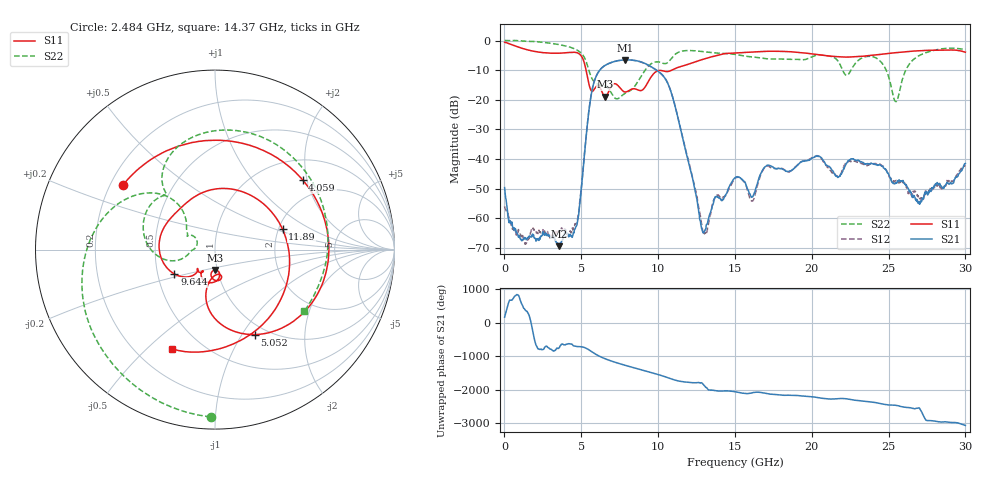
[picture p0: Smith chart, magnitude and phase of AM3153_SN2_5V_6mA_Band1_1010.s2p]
!Agilent Technologies,E8364B,MY43040894,A.07.50.67
!Agilent E8364B: A.07.50.67
!Date: Tuesday, May 12, 2020 09:45:42
!Correction: S11(Full 2 Port(1,2))
!S21(Full 2 Port(1,2))
!S12(Full 2 Port(1,2))
!S22(Full 2 Port(1,2))
!S2P File: Measurements: S11, S21, S12, S22:
# Hz S  dB  R 50
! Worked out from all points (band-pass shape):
!   1601 points, 10 MHz to 30 GHz, reference 50 ohm
!   highest |S21| = -6.53 dB at 7.864 GHz (marker M1); lowest = -69.4 dB at 3.553 GHz (marker M2)
!   |S21| within 3 dB of the highest: 6.279 GHz to 9.759 GHz (3.48 GHz wide, 43.4 % of centre)
!   lowest |S11| = -18.9 dB at 6.552 GHz (marker M3), VSWR 1.26, Z = 48.7 - j11.2 ohm
!   |S11| at or under -10 dB: 5.311 GHz to 10.88 GHz (5.574 GHz wide, 68.8 % of centre)
!   |S22| runs from -20.6 to 0.0 dB; largest |S21 - S12| = 0.0065
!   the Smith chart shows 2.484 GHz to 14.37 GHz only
!   S11 on the Smith chart (normalised r, x): 2.484 GHz: 0.25, +0.30; 4.059 GHz: 1.48, +1.88; 5.052 GHz: 0.87, -1.14; 9.644 GHz: 0.61, -0.18; 11.89 GHz: 2.11, +0.56; 14.37 GHz: 0.35, -0.60
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1e7  -0.58 -8.5  -49.60 162.5  -55.89 16.9  0.02 -2.6
8.34725e8  -2.08 -93.7  -65.06 112.0  -65.20 -26.4  -0.02 -30.4
2.484175e9  -4.07 144.7  -64.92 -86.0  -65.07 -85.3  -0.60 -91.5
3.552569e9  -4.27 75.9  -69.36 -34.9  -64.68 -97.1  -1.37 -132.4
4.05865e9  -4.10 38.5  -65.36 75.2  -65.59 -120.7  -1.90 -153.5
5.014581e9  -5.32 -59.8  -49.45 -4.7  -49.32 2.3  -4.37 156.0
5.052069e9  -5.64 -65.0  -47.28 -8.0  -47.25 -0.1  -4.59 153.5
5.7081e9  -17.15 -83.5  -16.59 -158.8  -16.57 -158.5  -12.97 135.5
6.551569e9  -18.89 -89.9  -8.37 -1.2  -8.37 -0.9  -15.36 153.3
7.863631e9  -17.35 -119.5  -6.53 161.8  -6.54 162.1  -17.78 -178.0
9.644288e9  -11.57 -149.0  -9.14 -65.5  -9.16 -64.5  -7.55 162.5
1.001916e10  -10.14 179.2  -10.46 -114.8  -10.42 -113.8  -7.20 143.2
1.189354e10  -8.11 16.7  -39.22 17.9  -38.86 19.0  -3.37 72.0
1.301816e10  -6.17 -55.6  -64.38 -91.6  -65.22 61.7  -3.80 19.5
1.436771e10  -4.40 -113.6  -52.26 117.9  -52.50 117.8  -4.38 -34.6
1.5005e10  -4.21 -136.0  -46.29 93.3  -46.47 88.0  -4.68 -61.1
1.798526e10  -3.66 132.6  -43.15 -5.2  -43.14 -3.7  -6.24 177.4
2.000958e10  -4.50 60.1  -39.69 -57.5  -39.45 -59.6  -5.50 39.4
2.135913e10  -5.33 3.3  -43.87 -122.5  -44.48 -125.3  -5.51 -78.5
2.501416e10  -4.34 -148.7  -45.28 57.6  -45.54 53.2  -12.39 130.5
2.701974e10  -3.44 148.8  -54.80 -45.8  -53.36 29.0  -4.99 -176.4
3e10  -3.92 78.8  -41.46 166.1  -42.10 173.1  -3.04 93.7
